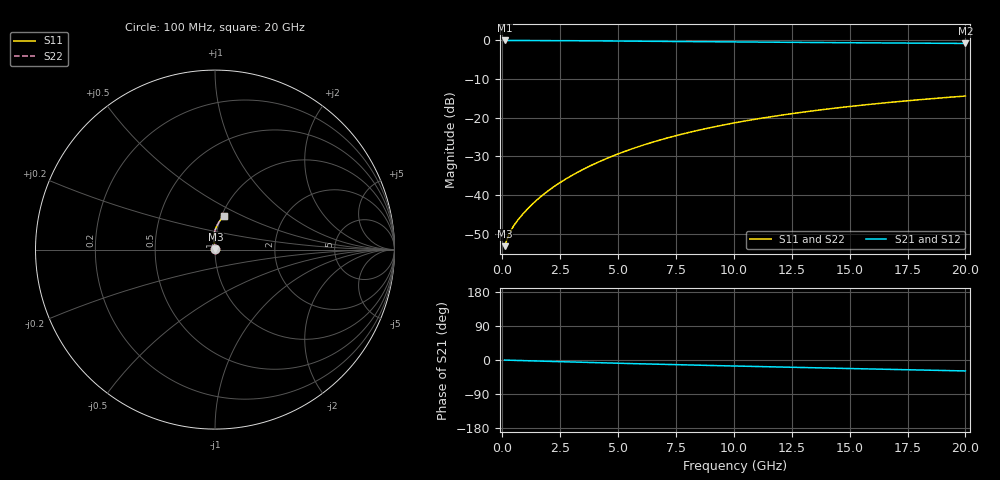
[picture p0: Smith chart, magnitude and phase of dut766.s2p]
! Touchstone file exported from HFSS 2024.1.0
!  File:  C:/UserFiles/LocalFiles/RDL_TSV_Batchsim/temp_RDL_bottom_766_1779860442.aedt
!  Generated:  01:42:54 PM May 27, 2026
!  Design:  RDL_bottom
!  Project:  temp_RDL_bottom_766_1779860442
!  Setup:  Setup1
!  Solution:  Sweep
! Variables:
!  dtsv = 10.80580581um
!  hbump = 3um
!  htsv = 77.05um
!  ldown = 463.8um
!  lrdl = 100um
!  p = 40
!  p1 = 43.79um
!  rhole = 1um
!  t = 450um
!  tdown = 3.19um
!  trdl = 3.915915916um
!  wdown = 29.88um
!  wrdl = 20um
# GHz S MA R 50.000000
! Terminal data exported
! Port[1] = RDL1_T1
! Port[2] = RDL1_T2
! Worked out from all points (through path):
!   200 points, 100 MHz to 20 GHz, reference 50 ohm
!   highest |S21| = -0.02 dB at 100 MHz (marker M1); lowest = -0.8 dB at 20 GHz (marker M2)
!   group delay of S21, straight-line fit = 3.94 ps
!   lowest |S11| = -53.2 dB at 100 MHz (marker M3), VSWR 1.00, Z = 50.2 + j0.0807 ohm
!   |S11| at or under -10 dB: start of sweep to end of sweep
!   |S22| runs from -53.2 to -14.4 dB; largest |S21 - S12| = 2.7e-15
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0.1  0.002184 21.6  0.998 -0.2  0.998 -0.2  0.002184 21.6
! Gamma 0 0 0 0
! Port Impedance 50 0 50 0
0.2  0.00266 34.4  0.9978 -0.4  0.9978 -0.4  0.00266 34.4
0.3  0.003151 41.8  0.9975 -0.6  0.9975 -0.6  0.003151 41.8
0.4  0.003604 46.9  0.9973 -0.7  0.9973 -0.7  0.003604 46.9
0.5  0.004031 51.2  0.9971 -0.9  0.9971 -0.9  0.004031 51.2
0.8  0.005299 61.7  0.9967 -1.5  0.9967 -1.5  0.0053 61.7
1.2  0.007149 71.8  0.996 -2.2  0.996 -2.2  0.007149 71.8
1.7  0.009752 80.3  0.9948 -3.0  0.9948 -3.0  0.009752 80.2
2.2  0.01266 86.0  0.9934 -3.9  0.9934 -3.9  0.01266 86.0
2.8  0.01653 90.7  0.9914 -4.9  0.9914 -4.9  0.01652 90.7
3.5  0.02156 94.3  0.9885 -6.1  0.9885 -6.1  0.02156 94.3
4.2  0.02712 96.5  0.9853 -7.3  0.9853 -7.3  0.02711 96.5
5  0.03406 97.8  0.9813 -8.5  0.9813 -8.5  0.03404 97.7
5.9  0.04248 98.2  0.9766 -9.9  0.9766 -9.9  0.04245 98.1
6.8  0.05141 97.8  0.9717 -11.3  0.9717 -11.3  0.05138 97.7
8.4  0.06816 96.0  0.9632 -13.6  0.9632 -13.6  0.06811 95.9
10.1  0.08659 93.3  0.9546 -16.0  0.9546 -16.0  0.08653 93.2
11.7  0.1041 90.4  0.947 -18.2  0.947 -18.2  0.104 90.3
13.4  0.1226 87.3  0.9394 -20.4  0.9394 -20.4  0.1225 87.2
15  0.1398 84.3  0.9326 -22.5  0.9326 -22.5  0.1397 84.3
16.7  0.1576 81.3  0.9257 -24.7  0.9257 -24.7  0.1574 81.2
20  0.1907 75.6  0.913 -28.9  0.913 -28.9  0.1906 75.5
